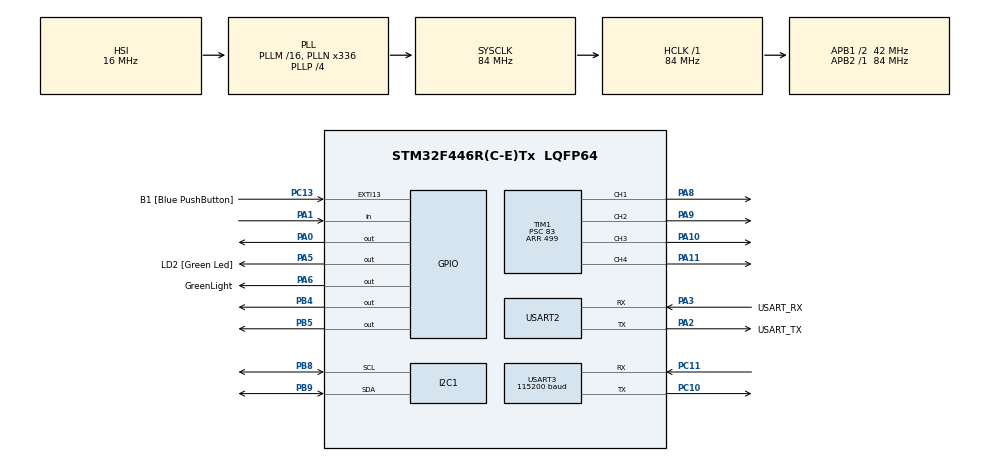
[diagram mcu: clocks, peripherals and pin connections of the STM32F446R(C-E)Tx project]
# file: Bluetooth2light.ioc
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Mcu.Family=STM32F4
Mcu.Name=STM32F446R(C-E)Tx
Mcu.Package=LQFP64
NVIC.PriorityGroup=NVIC_PRIORITYGROUP_0
NVIC.USART3_IRQn=true\:0\:0\:false\:false\:true\:true\:true\:true
PA0-WKUP.Signal=GPIO_Output
PA1.Signal=GPIO_Input
PA10.Signal=S_TIM1_CH3
PA11.Signal=S_TIM1_CH4
PA13.GPIO_Label=TMS
PA13.Mode=Serial_Wire
PA13.Signal=SYS_JTMS-SWDIO
PA14.GPIO_Label=TCK
PA14.Mode=Serial_Wire
PA14.Signal=SYS_JTCK-SWCLK
PA2.GPIO_Label=USART_TX
PA2.Mode=Asynchronous
PA2.Signal=USART2_TX
PA3.GPIO_Label=USART_RX
PA3.Mode=Asynchronous
PA3.Signal=USART2_RX
PA5.GPIO_Label=LD2 [Green Led]
PA5.Signal=GPIO_Output
PA6.GPIO_Label=GreenLight
PA6.Signal=GPIO_Output
PA8.Signal=S_TIM1_CH1
PA9.Signal=S_TIM1_CH2
PB4.Signal=GPIO_Output
PB5.Signal=GPIO_Output
PB8.Mode=I2C
PB8.Signal=I2C1_SCL
PB9.Mode=I2C
PB9.Signal=I2C1_SDA
PC10.Mode=Asynchronous
PC10.Signal=USART3_TX
PC11.Mode=Asynchronous
PC11.Signal=USART3_RX
PC13.GPIO_Label=B1 [Blue PushButton]
PC13.GPIO_ModeDefaultEXTI=GPIO_MODE_IT_FALLING
PC13.Signal=GPXTI13
PC14-OSC32_IN.Signal=RCC_OSC32_IN
PC15-OSC32_OUT.Signal=RCC_OSC32_OUT
PH0-OSC_IN.Mode=HSE-External-Oscillator
PH0-OSC_IN.Signal=RCC_OSC_IN
PH1-OSC_OUT.Mode=HSE-External-Oscillator
PH1-OSC_OUT.Signal=RCC_OSC_OUT
ProjectManager.HeapSize=0x200
ProjectManager.StackSize=0x400
ProjectManager.TargetToolchain=STM32CubeIDE
RCC.48MHZClocksFreq_Value=84000000
RCC.AHBFreq_Value=84000000
RCC.APB1CLKDivider=RCC_HCLK_DIV2
RCC.APB1Freq_Value=42000000
RCC.APB1TimFreq_Value=84000000
RCC.APB2Freq_Value=84000000
RCC.APB2TimFreq_Value=84000000
RCC.CortexFreq_Value=84000000
RCC.FLatency-AdvancedSettings=FLASH_LATENCY_2
RCC.HCLKFreq_Value=84000000
RCC.HSE_VALUE=8000000
RCC.HSI_VALUE=16000000
RCC.PLLN=336
RCC.PLLP=RCC_PLLP_DIV4
RCC.SYSCLKFreq_VALUE=84000000
RCC.SYSCLKSource=RCC_SYSCLKSOURCE_PLLCLK
RCC.USBFreq_Value=168000000
RCC.VCOOutputFreq_Value=336000000
SH.S_TIM1_CH1.0=TIM1_CH1,PWM Generation1 CH1
SH.S_TIM1_CH2.0=TIM1_CH2,PWM Generation2 CH2
SH.S_TIM1_CH3.0=TIM1_CH3,PWM Generation3 CH3
SH.S_TIM1_CH4.0=TIM1_CH4,PWM Generation4 CH4
TIM1.Channel-PWM\ Generation1\ CH1=TIM_CHANNEL_1
TIM1.Channel-PWM\ Generation2\ CH2=TIM_CHANNEL_2
TIM1.Channel-PWM\ Generation3\ CH3=TIM_CHANNEL_3
TIM1.Channel-PWM\ Generation4\ CH4=TIM_CHANNEL_4
TIM1.Period=499
TIM1.Prescaler=83
TIM2.Period=0xFFFF
TIM2.Prescaler=83
USART2.VirtualMode=VM_ASYNC
USART3.BaudRate=115200
USART3.VirtualMode=VM_ASYNC
VP_TIM2_VS_ClockSourceINT.Mode=Internal
board=NUCLEO-F446RE

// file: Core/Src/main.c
/* USER CODE BEGIN Header */
/**
  ******************************************************************************
  * @file           : main.c
  * @brief          : Main program body
  ******************************************************************************
  * @attention
  *
  * Copyright (c) 2026 STMicroelectronics.
  * All rights reserved.
  *
  * This software is licensed under terms that can be found in the LICENSE file
  * in the root directory of this software component.
  * If no LICENSE file comes with this software, it is provided AS-IS.
  *
  ******************************************************************************
  */
/* USER CODE END Header */
#include "main.h"

/* USER CODE BEGIN Includes */
#include "motor2.h"
#include "hcsr04.h"
#include <stdio.h>
#include "lcd_i2c.h"
/* USER CODE END Includes */

I2C_HandleTypeDef hi2c1;

TIM_HandleTypeDef htim1;
TIM_HandleTypeDef htim2;

UART_HandleTypeDef huart2;
UART_HandleTypeDef huart3;

/* USER CODE BEGIN PV */
//uint8_t rxData;
//volatile uint8_t data_receive = 0;
//volatile uint8_t data;

uint8_t rx_data;
volatile uint8_t received_data;

volatile uint8_t command = 'S';
uint32_t cmd_time = 0;

/* USER CODE END PV */

void SystemClock_Config(void);
static void MX_GPIO_Init(void);
static void MX_USART2_UART_Init(void);
static void MX_TIM1_Init(void);
static void MX_USART3_UART_Init(void);
static void MX_I2C1_Init(void);
static void MX_TIM2_Init(void);

/* USER CODE BEGIN 0 */
int __io_putchar(int ch)
{
    HAL_UART_Transmit(&huart2, (uint8_t *)&ch, 1, HAL_MAX_DELAY);
    return ch;
}

const uint8_t full_speed= 80; //9v
const uint8_t default_speed = 55; //6.25v
const uint8_t slow_speed = 45; //5v

uint8_t speed = default_speed;
/* USER CODE END 0 */

int main(void)
{

  /* MCU Configuration--------------------------------------------------------*/

  /* Reset of all peripherals, Initializes the Flash interface and the Systick. */
  HAL_Init();

  /* Configure the system clock */
  SystemClock_Config();

  /* Initialize all configured peripherals */
  MX_GPIO_Init();
  MX_USART2_UART_Init();
  MX_TIM1_Init();
  MX_USART3_UART_Init();
  MX_I2C1_Init();
  MX_TIM2_Init();
  /* USER CODE BEGIN 2 */
  HAL_UART_Receive_IT(&huart3, &rx_data, 1);

  Motor_Init();
  HCSR04_Init();

  HAL_GPIO_WritePin(GPIOB, GPIO_PIN_4|GPIO_PIN_5, 1);

   uint16_t LCD_ADDR = (0x27 << 1);/* Standard addresses are 0x27 or 0x3F. HAL requires the address to be shifted left by 1 bit. */

   HAL_StatusTypeDef statusl;

   statusl = HAL_I2C_IsDeviceReady(&hi2c1,LCD_ADDR, 3, 10);

      if (statusl == HAL_OK) {
          // SUCCESS: The STM32 found the LCD
    	  LCD_Init(&hi2c1);
          printf("System Online");
      } else {
          // FAILURE: The STM32 cannot find the device
          // Trigger an error LED or serial print
          Error_Handler();
          printf("LCD Not Found");
      }

  LCD_Clear();
  LCD_SetCursor(0, 0);
  LCD_Print("  HC-SR04 Live  ");
  LCD_SetCursor(0, 1);
  LCD_Print("  Initializing  ");
  HAL_Delay(1500);
//
  char buf[17];
  float    distance_cm;
  HCSR04_Status status;

  /* USER CODE END 2 */

  /* Infinite loop */
  /* USER CODE BEGIN WHILE */

  LCD_Clear();
int8_t count = 1;
  while (1)
  {
//	  Motor_Drive(STRAIGHT, 50);
	  if(received_data) {
		  received_data = 0;
		  dataToMotor(command);
		  if (command != 'S')
			  count++;
		  	  printf(rx_data);
//		  switch(command) {
//
//		  case 'F':
//			  // motor_forward
//			  break;
//		  case 'L':
//			  // motor_left
//			  break;
//		  case 'R':
//			  // motor_right
//			  break;
//		  case 'B':
//			  // motor_backward
//			  break;
//		  case 'S':
//			  //stop
//			  break;
//		  }
	  }

	  if ((HAL_GetTick() - cmd_time) > 300) {
			  command = 'S';
	  }
    /* USER CODE END WHILE */

    /* USER CODE BEGIN 3 */

//	  LCD_SetCursor(0, 0);
//	  snprintf(buf, sizeof(buf), "%d   %d ", count,command);
//	  LCD_Print(buf);

	  status = HCSR04_Read(&distance_cm);
	  LCD_SetCursor(0, 0);
	  LCD_Print("  Distance (cm) ");
	  if (status == HCSR04_OK)
	  {
//		  filter(dist_arr, distance_cm);
		  printf("Distance: %.1f cm\r\n", distance_cm);
		  LCD_SetCursor(0, 1);
		  snprintf(buf, sizeof(buf), "    %3.1f cm - %d  ", distance_cm, speed);
		  LCD_Print(buf);
	  }
	  else
	  {
		  printf("\r\n");
	  }
	  HAL_Delay(20);   /* Measure ~5 times per second */
//	  Motor_SetSpeed(MOTOR1, 70);  // forward 50%
//	  Motor_SetSpeed(MOTOR2, 70);   //THIS IS NOT ??% OF 6V ITS ??% OF VM+0.7
//
//	  Motor_Drive(STRAIGHT, 25);
//	  HAL_Delay(2000);
//	  Motor_Drive(RIGHT, 25);
//	  HAL_Delay(2000);
//	  Motor_Drive(LEFT, 25);
//	  HAL_Delay(2000);
//
//	  Motor_SetSpeed(MOTOR1, -50); // reverse
//	  Motor_SetSpeed(MOTOR2, -50);
//
//	  HAL_Delay(2000);
//
//	  Motor_SetSpeed(MOTOR1, 0);
//	  Motor_SetSpeed(MOTOR2, 0);
//
//	  HAL_Delay(2000);

  }
  /* USER CODE END 3 */
}

void SystemClock_Config(void)
{
  RCC_OscInitTypeDef RCC_OscInitStruct = {0};
  RCC_ClkInitTypeDef RCC_ClkInitStruct = {0};

  /** Configure the main internal regulator output voltage
  */
  __HAL_RCC_PWR_CLK_ENABLE();
  __HAL_PWR_VOLTAGESCALING_CONFIG(PWR_REGULATOR_VOLTAGE_SCALE3);

  /** Initializes the RCC Oscillators according to the specified parameters
  * in the RCC_OscInitTypeDef structure.
  */
  RCC_OscInitStruct.OscillatorType = RCC_OSCILLATORTYPE_HSI;
  RCC_OscInitStruct.HSIState = RCC_HSI_ON;
  RCC_OscInitStruct.HSICalibrationValue = RCC_HSICALIBRATION_DEFAULT;
  RCC_OscInitStruct.PLL.PLLState = RCC_PLL_ON;
  RCC_OscInitStruct.PLL.PLLSource = RCC_PLLSOURCE_HSI;
  RCC_OscInitStruct.PLL.PLLM = 16;
  RCC_OscInitStruct.PLL.PLLN = 336;
  RCC_OscInitStruct.PLL.PLLP = RCC_PLLP_DIV4;
  RCC_OscInitStruct.PLL.PLLQ = 2;
  RCC_OscInitStruct.PLL.PLLR = 2;
  if (HAL_RCC_OscConfig(&RCC_OscInitStruct) != HAL_OK)
  {
    Error_Handler();
  }

  /** Initializes the CPU, AHB and APB buses clocks
  */
  RCC_ClkInitStruct.ClockType = RCC_CLOCKTYPE_HCLK|RCC_CLOCKTYPE_SYSCLK
                              |RCC_CLOCKTYPE_PCLK1|RCC_CLOCKTYPE_PCLK2;
  RCC_ClkInitStruct.SYSCLKSource = RCC_SYSCLKSOURCE_PLLCLK;
  RCC_ClkInitStruct.AHBCLKDivider = RCC_SYSCLK_DIV1;
  RCC_ClkInitStruct.APB1CLKDivider = RCC_HCLK_DIV2;
  RCC_ClkInitStruct.APB2CLKDivider = RCC_HCLK_DIV1;

  if (HAL_RCC_ClockConfig(&RCC_ClkInitStruct, FLASH_LATENCY_2) != HAL_OK)
  {
    Error_Handler();
  }
}

static void MX_I2C1_Init(void)
{

  hi2c1.Instance = I2C1;
  hi2c1.Init.ClockSpeed = 100000;
  hi2c1.Init.DutyCycle = I2C_DUTYCYCLE_2;
  hi2c1.Init.OwnAddress1 = 0;
  hi2c1.Init.AddressingMode = I2C_ADDRESSINGMODE_7BIT;
  hi2c1.Init.DualAddressMode = I2C_DUALADDRESS_DISABLE;
  hi2c1.Init.OwnAddress2 = 0;
  hi2c1.Init.GeneralCallMode = I2C_GENERALCALL_DISABLE;
  hi2c1.Init.NoStretchMode = I2C_NOSTRETCH_DISABLE;
  if (HAL_I2C_Init(&hi2c1) != HAL_OK)
  {
    Error_Handler();
  }

}

static void MX_TIM1_Init(void)
{

  TIM_MasterConfigTypeDef sMasterConfig = {0};
  TIM_OC_InitTypeDef sConfigOC = {0};
  TIM_BreakDeadTimeConfigTypeDef sBreakDeadTimeConfig = {0};

  htim1.Instance = TIM1;
  htim1.Init.Prescaler = 83;
  htim1.Init.CounterMode = TIM_COUNTERMODE_UP;
  htim1.Init.Period = 499;
  htim1.Init.ClockDivision = TIM_CLOCKDIVISION_DIV1;
  htim1.Init.RepetitionCounter = 0;
  htim1.Init.AutoReloadPreload = TIM_AUTORELOAD_PRELOAD_DISABLE;
  if (HAL_TIM_PWM_Init(&htim1) != HAL_OK)
  {
    Error_Handler();
  }
  sMasterConfig.MasterOutputTrigger = TIM_TRGO_RESET;
  sMasterConfig.MasterSlaveMode = TIM_MASTERSLAVEMODE_DISABLE;
  if (HAL_TIMEx_MasterConfigSynchronization(&htim1, &sMasterConfig) != HAL_OK)
  {
    Error_Handler();
  }
  sConfigOC.OCMode = TIM_OCMODE_PWM1;
  sConfigOC.Pulse = 0;
  sConfigOC.OCPolarity = TIM_OCPOLARITY_HIGH;
  sConfigOC.OCNPolarity = TIM_OCNPOLARITY_HIGH;
  sConfigOC.OCFastMode = TIM_OCFAST_DISABLE;
  sConfigOC.OCIdleState = TIM_OCIDLESTATE_RESET;
  sConfigOC.OCNIdleState = TIM_OCNIDLESTATE_RESET;
  if (HAL_TIM_PWM_ConfigChannel(&htim1, &sConfigOC, TIM_CHANNEL_1) != HAL_OK)
  {
    Error_Handler();
  }
  if (HAL_TIM_PWM_ConfigChannel(&htim1, &sConfigOC, TIM_CHANNEL_2) != HAL_OK)
  {
    Error_Handler();
  }
  if (HAL_TIM_PWM_ConfigChannel(&htim1, &sConfigOC, TIM_CHANNEL_3) != HAL_OK)
  {
    Error_Handler();
  }
  if (HAL_TIM_PWM_ConfigChannel(&htim1, &sConfigOC, TIM_CHANNEL_4) != HAL_OK)
  {
    Error_Handler();
  }
  sBreakDeadTimeConfig.OffStateRunMode = TIM_OSSR_DISABLE;
  sBreakDeadTimeConfig.OffStateIDLEMode = TIM_OSSI_DISABLE;
  sBreakDeadTimeConfig.LockLevel = TIM_LOCKLEVEL_OFF;
  sBreakDeadTimeConfig.DeadTime = 0;
  sBreakDeadTimeConfig.BreakState = TIM_BREAK_DISABLE;
  sBreakDeadTimeConfig.BreakPolarity = TIM_BREAKPOLARITY_HIGH;
  sBreakDeadTimeConfig.AutomaticOutput = TIM_AUTOMATICOUTPUT_DISABLE;
  if (HAL_TIMEx_ConfigBreakDeadTime(&htim1, &sBreakDeadTimeConfig) != HAL_OK)
  {
    Error_Handler();
  }
  HAL_TIM_MspPostInit(&htim1);

}

static void MX_TIM2_Init(void)
{

  TIM_ClockConfigTypeDef sClockSourceConfig = {0};
  TIM_MasterConfigTypeDef sMasterConfig = {0};

  htim2.Instance = TIM2;
  htim2.Init.Prescaler = 83;
  htim2.Init.CounterMode = TIM_COUNTERMODE_UP;
  htim2.Init.Period = 0xFFFF;
  htim2.Init.ClockDivision = TIM_CLOCKDIVISION_DIV1;
  htim2.Init.AutoReloadPreload = TIM_AUTORELOAD_PRELOAD_DISABLE;
  if (HAL_TIM_Base_Init(&htim2) != HAL_OK)
  {
    Error_Handler();
  }
  sClockSourceConfig.ClockSource = TIM_CLOCKSOURCE_INTERNAL;
  if (HAL_TIM_ConfigClockSource(&htim2, &sClockSourceConfig) != HAL_OK)
  {
    Error_Handler();
  }
  sMasterConfig.MasterOutputTrigger = TIM_TRGO_RESET;
  sMasterConfig.MasterSlaveMode = TIM_MASTERSLAVEMODE_DISABLE;
  if (HAL_TIMEx_MasterConfigSynchronization(&htim2, &sMasterConfig) != HAL_OK)
  {
    Error_Handler();
  }

}

static void MX_USART2_UART_Init(void)
{

  huart2.Instance = USART2;
  huart2.Init.BaudRate = 115200;
  huart2.Init.WordLength = UART_WORDLENGTH_8B;
  huart2.Init.StopBits = UART_STOPBITS_1;
  huart2.Init.Parity = UART_PARITY_NONE;
  huart2.Init.Mode = UART_MODE_TX_RX;
  huart2.Init.HwFlowCtl = UART_HWCONTROL_NONE;
  huart2.Init.OverSampling = UART_OVERSAMPLING_16;
  if (HAL_UART_Init(&huart2) != HAL_OK)
  {
    Error_Handler();
  }

}

static void MX_USART3_UART_Init(void)
{

  huart3.Instance = USART3;
  huart3.Init.BaudRate = 115200;
  huart3.Init.WordLength = UART_WORDLENGTH_8B;
  huart3.Init.StopBits = UART_STOPBITS_1;
  huart3.Init.Parity = UART_PARITY_NONE;
  huart3.Init.Mode = UART_MODE_TX_RX;
  huart3.Init.HwFlowCtl = UART_HWCONTROL_NONE;
  huart3.Init.OverSampling = UART_OVERSAMPLING_16;
  if (HAL_UART_Init(&huart3) != HAL_OK)
  {
    Error_Handler();
  }

}

static void MX_GPIO_Init(void)
{
  GPIO_InitTypeDef GPIO_InitStruct = {0};

  /* GPIO Ports Clock Enable */
  __HAL_RCC_GPIOC_CLK_ENABLE();
  __HAL_RCC_GPIOH_CLK_ENABLE();
  __HAL_RCC_GPIOA_CLK_ENABLE();
  __HAL_RCC_GPIOB_CLK_ENABLE();

  /*Configure GPIO pin Output Level */
  HAL_GPIO_WritePin(GPIOA, GPIO_PIN_0|LD2_Pin|GreenLight_Pin, GPIO_PIN_RESET);

  /*Configure GPIO pin Output Level */
  HAL_GPIO_WritePin(GPIOB, GPIO_PIN_4|GPIO_PIN_5, GPIO_PIN_RESET);

  /*Configure GPIO pin : B1_Pin */
  GPIO_InitStruct.Pin = B1_Pin;
  GPIO_InitStruct.Mode = GPIO_MODE_IT_FALLING;
  GPIO_InitStruct.Pull = GPIO_NOPULL;
  HAL_GPIO_Init(B1_GPIO_Port, &GPIO_InitStruct);

  /*Configure GPIO pins : PA0 LD2_Pin GreenLight_Pin */
  GPIO_InitStruct.Pin = GPIO_PIN_0|LD2_Pin|GreenLight_Pin;
  GPIO_InitStruct.Mode = GPIO_MODE_OUTPUT_PP;
  GPIO_InitStruct.Pull = GPIO_NOPULL;
  GPIO_InitStruct.Speed = GPIO_SPEED_FREQ_LOW;
  HAL_GPIO_Init(GPIOA, &GPIO_InitStruct);

  /*Configure GPIO pin : PA1 */
  GPIO_InitStruct.Pin = GPIO_PIN_1;
  GPIO_InitStruct.Mode = GPIO_MODE_INPUT;
  GPIO_InitStruct.Pull = GPIO_NOPULL;
  HAL_GPIO_Init(GPIOA, &GPIO_InitStruct);

  /*Configure GPIO pins : PB4 PB5 */
  GPIO_InitStruct.Pin = GPIO_PIN_4|GPIO_PIN_5;
  GPIO_InitStruct.Mode = GPIO_MODE_OUTPUT_PP;
  GPIO_InitStruct.Pull = GPIO_NOPULL;
  GPIO_InitStruct.Speed = GPIO_SPEED_FREQ_LOW;
  HAL_GPIO_Init(GPIOB, &GPIO_InitStruct);

}

/* USER CODE BEGIN 4 */

void dataToMotor(uint8_t data){ // max output = suplly +0.7 ,

	if (data == 'V'){
		if (speed != full_speed){
		speed = full_speed;
		}
		else{
			speed = default_speed;
		}
	}
	else if (data == 'W'){
		if (speed != slow_speed){
			speed = slow_speed;
		}
		else{
			speed = default_speed;
		}
	}

	switch(data) {
//		case 'O':
//			HAL_GPIO_WritePin(GreenLight_GPIO_Port, GreenLight_Pin, GPIO_PIN_SET);
//			break;
//
//		case 'F':
//			HAL_GPIO_WritePin(GreenLight_GPIO_Port, GreenLight_Pin, GPIO_PIN_RESET);
//			break;

		case 'F':
			Motor_Drive(STRAIGHT, speed);
			break;

		case 'B':
			Motor_Drive(STRAIGHT, -speed);
			break;
//
//		case 'K': // forwards and left
//			Motor_Drive(LEFT, 25);
//			break;
//
//		case 'Q': // forwards and right
//			Motor_Drive(RIGHT, 25);
//			break;
//
//		case 'J': // back and left
//			Motor_Drive(LEFT, -25);
//			break;
//
//		case 'P': // back and right
//			Motor_Drive(RIGHT, -25);
//			break;

		case 'L': // left
			Motor_Drive(LEFT, speed);
			break;

		case 'R': // right
			Motor_Drive(RIGHT, speed);
			break;
		case 'S':
			Motor_Drive(STRAIGHT, 0);
			break;
		}
}

void HAL_UART_RxCpltCallback (UART_HandleTypeDef *huart)
{
	if (huart -> Instance == USART3) {
		HAL_UART_Transmit(&huart2, &rx_data, 1, 10);
		received_data = 1;

		cmd_time = HAL_GetTick();
		HAL_UART_Receive_IT(&huart3, &rx_data, 1);
		command = rx_data;

		// ensure connection
		HAL_GPIO_TogglePin(GPIOA, GPIO_PIN_5);
	}
}
//
//void HAL_UART_RxCpltCallback(UART_HandleTypeDef *huart)
//{
//	if(huart -> Instance == UART4)
//	{
//		// Forward received byte to PC via USB (USART2)
//		HAL_UART_Transmit(&huart2, &rxData, 1, 10);
//
//		data_receive = 1;
//		data = rxData;
//		HAL_UART_Receive_IT(&huart3, &rxData, 1); // what does this do again????
//
//		if (data_receive) {
//				  data_receive = 0;
//
//				  switch(data) {
//				    case 'O':
//			  			HAL_GPIO_WritePin(GreenLight_GPIO_Port, GreenLight_Pin, GPIO_PIN_SET);
//			  			break;
//
//			  		case 'F':
//			  			HAL_GPIO_WritePin(GreenLight_GPIO_Port, GreenLight_Pin, GPIO_PIN_RESET);
//			  			break;
//
//			  		case 'U':
//			  			Motor_Drive(STRAIGHT, 50);
//			  			break;
//
//			  		case 'D':
//			  			Motor_Drive(STRAIGHT, -50);
//			  			break;
//
//			  		case 'K': // forwards and left
//			  			Motor_Drive(LEFT, 25);
//			  			break;
//
//			  		case 'Q': // forwards and right
//			  			Motor_Drive(RIGHT, 25);
//			  			break;
//
//			  		case 'J': // back and left
//			  			Motor_Drive(LEFT, -25);
//			  			break;
//
//			  		case 'P': // back and right
//			  			Motor_Drive(RIGHT, -25);
//			  			break;
//
//			  		case 'L': // left
//			  			Motor_Drive(LEFT, 50);
//			  			break;
//
//			  		case 'R': // right
//			  			Motor_Drive(RIGHT, 50);
//			  			break;
//			  		case 'S':
//			  			Motor_Drive(STRAIGHT, 0);
//			  			break;
//			  		}
//			  }
//	}
//
//}
//

////	   Connection checker
//	void HAL_UART_RxCpltCallback(UART_HandleTypeDef *huart)
//	{
//	    if(huart->Instance == UART4)
//	    {
//	    	HAL_GPIO_WritePin(GreenLight_GPIO_Port, GreenLight_Pin, GPIO_PIN_SET);
//
//	        HAL_UART_Receive_IT(&huart4, &rxData, 1);
//	    }
//	}
//}
/* USER CODE END 4 */

void Error_Handler(void)
{
  __disable_irq();
  while (1)
  {
  }
}
